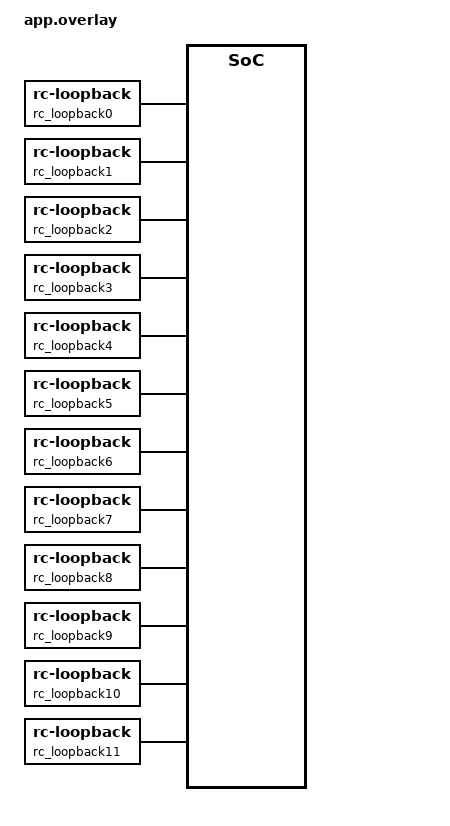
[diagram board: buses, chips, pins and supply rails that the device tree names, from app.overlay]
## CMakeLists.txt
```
# SPDX-FileCopyrightText: Copyright (c) 2026 Linumiz
# SPDX-License-Identifier: Apache-2.0

cmake_minimum_required(VERSION 3.28.0)
find_package(Zephyr REQUIRED HINTS $ENV{ZEPHYR_BASE})

project(rc_core)

target_sources(app PRIVATE
  src/event.c
  src/keystate.c
  src/main.c
  src/protocol.c
  src/raw.c
  src/rawio.c
  src/send.c
  src/sync.c
  src/tx.c
)

if(CONFIG_TEST_RC_CALLBACKS)
  target_sources(app PRIVATE src/callback.c)
else()
  target_sources(app PRIVATE src/no_callback.c)
endif()
```

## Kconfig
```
# SPDX-FileCopyrightText: Copyright (c) 2026 Linumiz
# SPDX-License-Identifier: Apache-2.0

config TEST_RC_CALLBACKS
	bool "Build the rc callback tests"
	default y
	help
	  Disable to test a build without any rc callback.

source "Kconfig.zephyr"
```

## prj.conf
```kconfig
# SPDX-FileCopyrightText: Copyright (c) 2026 Linumiz
# SPDX-License-Identifier: Apache-2.0

CONFIG_ZTEST=y
CONFIG_RC=y
CONFIG_MP_MAX_NUM_CPUS=1
CONFIG_IRQ_OFFLOAD=y
CONFIG_RC_RAW_BUFFER_SIZE=16
CONFIG_SYS_MEM_BLOCKS_RUNTIME_STATS=y
CONFIG_THREAD_NAME=y
CONFIG_RC_RAW_CHUNK_WORDS=8
CONFIG_RC_TX_MAX_DURATION_MS=500
CONFIG_RC_PROTOCOL_NEC=n
```

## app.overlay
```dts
/*
 * SPDX-FileCopyrightText: Copyright (c) 2026 Linumiz
 * SPDX-License-Identifier: Apache-2.0
 */

/ {
	rc_loopback0: rc-loopback-0 {
		compatible = "zephyr,rc-loopback";
		rx-timeout-us = <20000>;
		status = "okay";
	};

	rc_loopback1: rc-loopback-1 {
		compatible = "zephyr,rc-loopback";
		protocols = <0x1f2 0x1fe>;
		status = "okay";
	};

	rc_loopback2: rc-loopback-2 {
		compatible = "zephyr,rc-loopback";
		hw-rx-timeout;
		protocols = <0x1fe>;
		rx-timeout-us = <5000>;
		status = "okay";
	};

	rc_loopback3: rc-loopback-3 {
		compatible = "zephyr,rc-loopback";
		hw-rx-timeout;
		status = "okay";
	};

	rc_loopback4: rc-loopback-4 {
		compatible = "zephyr,rc-loopback";
		hw-rx-timeout;
		status = "okay";
	};

	rc_loopback5: rc-loopback-5 {
		compatible = "zephyr,rc-loopback";
		protocols = <0x1fa>;
		rx-timeout-us = <5000>;
		status = "okay";
	};

	rc_loopback6: rc-loopback-6 {
		compatible = "zephyr,rc-loopback";
		protocols = <0x1fb 0x1ff>;
		rx-timeout-us = <10000>;
		status = "okay";
	};

	rc_loopback7: rc-loopback-7 {
		compatible = "zephyr,rc-loopback";
		protocols = <0x1fa>;
		rx-timeout-us = <5000>;
		status = "okay";
	};

	rc_loopback8: rc-loopback-8 {
		compatible = "zephyr,rc-loopback";
		protocols = <0x1fa>;
		rx-timeout-us = <5000>;
		status = "okay";
	};

	rc_loopback9: rc-loopback-9 {
		compatible = "zephyr,rc-loopback";
		protocols = <0x1fe>;
		rx-timeout-us = <5000>;
		status = "okay";
	};

	rc_loopback10: rc-loopback-10 {
		compatible = "zephyr,rc-loopback";
		protocols = <0x1fe>;
		rx-timeout-us = <5000>;
		tx-echo;
		status = "okay";
	};

	rc_loopback11: rc-loopback-11 {
		compatible = "zephyr,rc-loopback";
		rx-only;
		status = "okay";
	};
};
```

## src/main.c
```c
/*
 * SPDX-FileCopyrightText: Copyright (c) 2026 Linumiz
 * SPDX-License-Identifier: Apache-2.0
 */

#include <zephyr/device.h>
#include <zephyr/drivers/rc.h>
#include <zephyr/drivers/rc/rc_loopback.h>
#include <zephyr/rc/rc.h>
#include <zephyr/ztest.h>

BUILD_ASSERT(RC_EVENT_FLAG_TOGGLE == 1U);
BUILD_ASSERT(RC_EVENT_FLAG_REPEAT == 2U);
BUILD_ASSERT((RC_RAW_DURATION_MASK & (RC_RAW_PULSE | RC_RAW_TIMEOUT | RC_RAW_OVERFLOW)) == 0U);
BUILD_ASSERT(RC_PROTO_XBOX_DVD < RC_PROTO_ZEPHYR_BASE);

static const struct device *const rc_dev = DEVICE_DT_GET(DT_NODELABEL(rc_loopback0));

ZTEST(rc_core, test_raw_pulse)
{
	uint32_t word = RC_RAW_PULSE_US(560);

	zassert_true(rc_raw_is_pulse(word));
	zassert_equal(rc_raw_duration_us(word), 560U);
	zassert_equal(word & (RC_RAW_TIMEOUT | RC_RAW_OVERFLOW), 0U);
}

ZTEST(rc_core, test_raw_space)
{
	uint32_t word = RC_RAW_SPACE_US(1690);

	zassert_false(rc_raw_is_pulse(word));
	zassert_equal(rc_raw_duration_us(word), 1690U);
}

ZTEST(rc_core, test_raw_clamp)
{
	zassert_equal(rc_raw_duration_us(RC_RAW_PULSE_US(RC_RAW_DURATION_MASK + 1U)),
		      RC_RAW_DURATION_MASK);
	zassert_equal(rc_raw_duration_us(RC_RAW_SPACE_US(UINT32_MAX)), RC_RAW_DURATION_MASK);
	zassert_false(rc_raw_is_pulse(RC_RAW_SPACE_US(UINT32_MAX)));
}

ZTEST(rc_core, test_raw_zero)
{
	zassert_equal(RC_RAW_SPACE_US(0), 0U);
	zassert_equal(RC_RAW_PULSE_US(0), RC_RAW_PULSE);
}

ZTEST(rc_core, test_device_ready)
{
	zassert_true(device_is_ready(rc_dev));
}

ZTEST(rc_core, test_get_caps)
{
	struct rc_caps caps;

	zassert_ok(rc_get_caps(rc_dev, &caps));
	zassert_equal(caps.roles, RC_ROLE_RAW_RX);
	zassert_equal(caps.rx_resolution_ns, 1000U);
}

ZTEST(rc_core, test_rx_enable)
{
	zassert_ok(rc_rx_enable(rc_dev, true));
	zassert_true(rc_loopback_rx_is_enabled(rc_dev));
	zassert_ok(rc_rx_enable(rc_dev, false));
	zassert_false(rc_loopback_rx_is_enabled(rc_dev));
}

ZTEST_SUITE(rc_core, NULL, NULL, NULL, NULL, NULL);
```

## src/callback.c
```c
/*
 * SPDX-FileCopyrightText: Copyright (c) 2026 Linumiz
 * SPDX-License-Identifier: Apache-2.0
 */

#include <string.h>

#include <zephyr/device.h>
#include <zephyr/drivers/rc.h>
#include <zephyr/drivers/rc/rc_loopback.h>
#include <zephyr/kernel.h>
#include <zephyr/rc/rc.h>
#include <zephyr/ztest.h>

#define TEST_PROTO_EVT 0x1fa
#define KEYUP_MS       6
#define LOG_SIZE       8

static const struct device *const dev7 = DEVICE_DT_GET(DT_NODELABEL(rc_loopback7));
static const struct device *const dev8 = DEVICE_DT_GET(DT_NODELABEL(rc_loopback8));

static int marker;

static struct rc_event dev8_log[LOG_SIZE];
static size_t dev8_count;
static bool dev8_on_rc_rx;
static void *dev8_user_data;
static int dev8_sync_ret;
static int dev8_send_ret;
static atomic_t all_dev8_count;
static atomic_t dev7_count;
static K_SEM_DEFINE(dev8_sem, 0, LOG_SIZE);

static void dev8_cb(const struct device *dev, const struct rc_event *evt, void *user_data)
{
	struct rc_event unused;

	zassert_equal(dev, dev8);
	if (dev8_count < LOG_SIZE) {
		dev8_log[dev8_count++] = *evt;
	}
	dev8_on_rc_rx = (strcmp(k_thread_name_get(k_current_get()), "rc_rx") == 0);
	dev8_user_data = user_data;
	dev8_sync_ret = rc_receive_sync(dev, &unused, K_NO_WAIT);
	dev8_send_ret =
		rc_send_raw_sync(dev, &(const uint32_t){RC_RAW_PULSE_US(100)}, 1, K_NO_WAIT);
	k_sem_give(&dev8_sem);
}

static void all_cb(const struct device *dev, const struct rc_event *evt, void *user_data)
{
	ARG_UNUSED(evt);
	ARG_UNUSED(user_data);

	if (dev == dev8) {
		atomic_inc(&all_dev8_count);
	}
}

static void dev7_cb(const struct device *dev, const struct rc_event *evt, void *user_data)
{
	ARG_UNUSED(evt);
	ARG_UNUSED(user_data);

	zassert_equal(dev, dev7);
	atomic_inc(&dev7_count);
}

RC_CALLBACK_DEFINE(DEVICE_DT_GET(DT_NODELABEL(rc_loopback8)), dev8_cb, &marker);
RC_CALLBACK_DEFINE(NULL, all_cb, NULL);
RC_CALLBACK_DEFINE(DEVICE_DT_GET(DT_NODELABEL(rc_loopback7)), dev7_cb, NULL);

static void inject(uint32_t scancode)
{
	const uint32_t word = RC_RAW_PULSE_US(scancode);

	zassert_ok(rc_loopback_inject(dev8, &word, 1));
}

static void rc_callback_before(void *fixture)
{
	ARG_UNUSED(fixture);

	k_sleep(K_MSEC(4 * KEYUP_MS));
	k_sem_reset(&dev8_sem);
	dev8_count = 0;
	dev8_sync_ret = 0;
	atomic_clear(&all_dev8_count);
	atomic_clear(&dev7_count);
	zassert_ok(rc_rx_enable(dev8, true));
}

static void rc_callback_after(void *fixture)
{
	ARG_UNUSED(fixture);

	zassert_ok(rc_rx_enable(dev8, false));
}

ZTEST(rc_callback, test_event_and_release)
{
	inject(100);
	zassert_ok(k_sem_take(&dev8_sem, K_MSEC(500)));
	zassert_ok(k_sem_take(&dev8_sem, K_MSEC(500)));

	zassert_equal(dev8_count, 2U);
	zassert_equal(dev8_log[0].proto, TEST_PROTO_EVT);
	zassert_equal(dev8_log[0].scancode, 100U);
	zassert_equal(dev8_log[0].flags, 0);
	zassert_equal(dev8_log[1].scancode, 100U);
	zassert_equal(dev8_log[1].flags, RC_EVENT_FLAG_RELEASE);
	zassert_equal(dev8_user_data, &marker);
	zassert_true(dev8_on_rc_rx, "callback not on rc_rx");
}

ZTEST(rc_callback, test_receive_sync_deadlock)
{
	inject(100);
	zassert_ok(k_sem_take(&dev8_sem, K_MSEC(500)));
	zassert_equal(dev8_sync_ret, -EDEADLK);
	zassert_equal(dev8_send_ret, -EDEADLK);
}

ZTEST(rc_callback, test_filter)
{
	inject(100);
	zassert_ok(k_sem_take(&dev8_sem, K_MSEC(500)));
	zassert_ok(k_sem_take(&dev8_sem, K_MSEC(500)));

	zassert_equal(atomic_get(&all_dev8_count), 2);
	zassert_equal(atomic_get(&dev7_count), 0);
}

ZTEST_SUITE(rc_callback, NULL, NULL, rc_callback_before, rc_callback_after, NULL);
```

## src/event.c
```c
/*
 * SPDX-FileCopyrightText: Copyright (c) 2026 Linumiz
 * SPDX-License-Identifier: Apache-2.0
 */

#include <string.h>

#include <zephyr/device.h>
#include <zephyr/drivers/rc.h>
#include <zephyr/drivers/rc/rc_loopback.h>
#include <zephyr/kernel.h>
#include <zephyr/rc/rc.h>
#include <zephyr/rc/rc_protocol.h>
#include <zephyr/rtio/rtio.h>
#include <zephyr/ztest.h>

#define TEST_PROTO_EVT 0x1fa

static int test_evt_decode(void *state, uint32_t word, struct rc_decode_result *res)
{
	ARG_UNUSED(state);

	if (!rc_raw_is_pulse(word)) {
		return 0;
	}

	res->proto = TEST_PROTO_EVT;
	res->flags = 0;
	res->scancode = rc_raw_duration_us(word);

	return 1;
}

RC_PROTOCOL_DEFINE(test_proto_evt) = {
	.name = "test-evt",
	.proto_first = TEST_PROTO_EVT,
	.proto_last = TEST_PROTO_EVT,
	.repeat_period_ms = 1,
	.decode = test_evt_decode,
};

static bool is_release(struct rtio *r, struct rtio_cqe *cqe)
{
	struct rc_event evt;
	uint32_t len = 0U;
	uint8_t *buf = NULL;

	if ((cqe->result != 0) || (rtio_cqe_get_mempool_buffer(r, cqe, &buf, &len) != 0) ||
	    (buf == NULL) || (len < sizeof(evt))) {
		return false;
	}

	memcpy(&evt, buf, sizeof(evt));
	if ((evt.flags & RC_EVENT_FLAG_RELEASE) == 0U) {
		return false;
	}

	rtio_release_buffer(r, buf, len);
	rtio_cqe_release(r, cqe);

	return true;
}

RC_DT_EVENT_IODEV(evt_iodev, DT_NODELABEL(rc_loopback5));

RTIO_DEFINE_WITH_MEMPOOL(ctx_a, 4, 8, 8, 32, sizeof(void *));
RTIO_DEFINE_WITH_MEMPOOL(ctx_b, 4, 8, 8, 32, sizeof(void *));
RTIO_DEFINE_WITH_MEMPOOL(ctx_small, 4, 8, 1, 8, sizeof(void *));
RTIO_DEFINE(ctx_plain, 4, 8);

static const struct device *const dev5 = DEVICE_DT_GET(DT_NODELABEL(rc_loopback5));

static void inject(uint32_t scancode)
{
	const uint32_t word = RC_RAW_PULSE_US(scancode);

	zassert_ok(rc_loopback_inject(dev5, &word, 1));
}

static struct rtio_cqe *wait_cqe(struct rtio *r)
{
	for (int i = 0; i < 200; i++) {
		struct rtio_cqe *cqe = rtio_cqe_consume(r);

		if ((cqe != NULL) && !is_release(r, cqe)) {
			return cqe;
		}
		if (cqe == NULL) {
			k_sleep(K_MSEC(1));
		}
	}

	zassert_unreachable("no completion");

	return NULL;
}

static void expect_no_cqe(struct rtio *r)
{
	struct rtio_cqe *cqe;

	k_sleep(K_MSEC(20));
	do {
		cqe = rtio_cqe_consume(r);
	} while ((cqe != NULL) && is_release(r, cqe));
	zassert_is_null(cqe, "unexpected completion");
}

static void expect_event(struct rtio *r, void *userdata, uint32_t scancode, struct rc_event *out)
{
	struct rtio_cqe *cqe = wait_cqe(r);
	struct rc_event evt;
	uint32_t len = 0U;
	uint8_t *buf = NULL;

	zassert_equal(cqe->result, 0);
	zassert_equal(cqe->userdata, userdata);
	zassert_ok(rtio_cqe_get_mempool_buffer(r, cqe, &buf, &len));
	zassert_true(len >= sizeof(evt));
	memcpy(&evt, buf, sizeof(evt));
	rtio_release_buffer(r, buf, len);
	rtio_cqe_release(r, cqe);

	zassert_equal(evt.proto, TEST_PROTO_EVT);
	zassert_equal(evt.scancode, scancode);
	zassert_equal(evt.flags, 0);
	zassert_equal(evt.keycode, 0);
	if (out != NULL) {
		*out = evt;
	}
}

static void expect_result(struct rtio *r, int result)
{
	struct rtio_cqe *cqe = wait_cqe(r);

	zassert_equal(cqe->result, result, "result %d", cqe->result);
	rtio_cqe_release(r, cqe);
}

static void cancel(struct rtio *r, rtio_sqe_handle_t handle)
{
	zassert_ok(rtio_sqe_cancel(r, handle));
	expect_result(r, -ECANCELED);
}

static void cancel_before_submit(struct rtio *r, struct rtio_sqe *sqe)
{
	zassert_ok(rtio_sqe_cancel(r, rtio_sqe_handle(r, sqe)));
	zassert_ok(rtio_submit(r, 0));
	expect_result(r, -ECANCELED);
	expect_no_cqe(r);
}

static void submit_oneshot(struct rtio *r, void *userdata)
{
	struct rtio_sqe *sqe = rtio_sqe_acquire(r);

	zassert_not_null(sqe);
	rtio_sqe_prep_read_with_pool(sqe, &evt_iodev, RTIO_PRIO_NORM, userdata);
	zassert_ok(rtio_submit(r, 0));
}

static void rc_event_before(void *fixture)
{
	ARG_UNUSED(fixture);

	k_sleep(K_MSEC(20));
	zassert_ok(rc_rx_enable(dev5, true));
}

static void rc_event_after(void *fixture)
{
	struct rtio *const ctxs[] = {&ctx_a, &ctx_b, &ctx_small, &ctx_plain};

	ARG_UNUSED(fixture);

	zassert_ok(rc_rx_enable(dev5, false));
	k_sleep(K_MSEC(5));
	ARRAY_FOR_EACH(ctxs, i) {
		struct rtio_cqe *cqe;

		do {
			cqe = rtio_cqe_consume(ctxs[i]);
		} while ((cqe != NULL) && is_release(ctxs[i], cqe));
		zassert_is_null(cqe, "completion left in ctx %zu", i);
		zassert_equal(ctxs[i]->sqe_pool->pool_free, ctxs[i]->sqe_pool->pool_size,
			      "submission leaked in ctx %zu", i);
		if (ctxs[i]->block_pool != NULL) {
			zassert_equal(ctxs[i]->block_pool->info.used_blocks, 0U,
				      "pool buffer leaked in ctx %zu", i);
		}
	}
}

ZTEST(rc_event, test_multishot_every_event)
{
	rtio_sqe_handle_t handle;
	struct rc_event first, second;

	zassert_ok(rc_stream(&evt_iodev, &ctx_a, &ctx_a, &handle));
	inject(100);
	inject(200);
	inject(300);

	expect_event(&ctx_a, &ctx_a, 100, &first);
	expect_event(&ctx_a, &ctx_a, 200, &second);
	expect_event(&ctx_a, &ctx_a, 300, NULL);
	zassert_true(first.timestamp_ns > 0U);
	zassert_true(second.timestamp_ns >= first.timestamp_ns);

	cancel(&ctx_a, handle);
	inject(400);
	expect_no_cqe(&ctx_a);
}

ZTEST(rc_event, test_oneshot_once)
{
	submit_oneshot(&ctx_a, NULL);
	inject(100);
	inject(200);

	expect_event(&ctx_a, NULL, 100, NULL);
	expect_no_cqe(&ctx_a);
}

ZTEST(rc_event, test_no_submission_dropped)
{
	inject(100);
	k_sleep(K_MSEC(20));

	submit_oneshot(&ctx_a, NULL);
	inject(200);
	expect_event(&ctx_a, NULL, 200, NULL);
}

ZTEST(rc_event, test_two_contexts)
{
	rtio_sqe_handle_t handle_a, handle_b;

	zassert_ok(rc_stream(&evt_iodev, &ctx_a, NULL, &handle_a));
	zassert_ok(rc_stream(&evt_iodev, &ctx_b, NULL, &handle_b));
	inject(100);

	expect_event(&ctx_a, NULL, 100, NULL);
	expect_event(&ctx_b, NULL, 100, NULL);

	cancel(&ctx_a, handle_a);
	cancel(&ctx_b, handle_b);
}

ZTEST(rc_event, test_cancel_without_events)
{
	rtio_sqe_handle_t handle;

	zassert_ok(rc_stream(&evt_iodev, &ctx_a, NULL, &handle));
	k_sleep(K_MSEC(5));
	zassert_equal(ctx_a.sqe_pool->pool_free, ctx_a.sqe_pool->pool_size - 1U);

	cancel(&ctx_a, handle);
	zassert_equal(ctx_a.sqe_pool->pool_free, ctx_a.sqe_pool->pool_size);

	inject(100);
	expect_no_cqe(&ctx_a);
}

ZTEST(rc_event, test_cancel_twice)
{
	rtio_sqe_handle_t handle;

	zassert_ok(rc_stream(&evt_iodev, &ctx_a, NULL, &handle));
	cancel(&ctx_a, handle);

	zassert_ok(rtio_sqe_cancel(&ctx_a, handle));
	expect_no_cqe(&ctx_a);
}

ZTEST(rc_event, test_cancel_oneshot)
{
	struct rtio_sqe *sqe = rtio_sqe_acquire(&ctx_a);
	rtio_sqe_handle_t handle;

	zassert_not_null(sqe);
	rtio_sqe_prep_read_with_pool(sqe, &evt_iodev, RTIO_PRIO_NORM, NULL);
	handle = rtio_sqe_handle(&ctx_a, sqe);
	zassert_ok(rtio_submit(&ctx_a, 0));
	k_sleep(K_MSEC(5));

	cancel(&ctx_a, handle);
	inject(100);
	expect_no_cqe(&ctx_a);
}

ZTEST(rc_event, test_cancel_before_submit)
{
	struct rtio_sqe *sqe = rtio_sqe_acquire(&ctx_a);

	zassert_not_null(sqe);
	rtio_sqe_prep_read_with_pool(sqe, &evt_iodev, RTIO_PRIO_NORM, NULL);
	cancel_before_submit(&ctx_a, sqe);
}

ZTEST(rc_event, test_pool_exhausted)
{
	rtio_sqe_handle_t handle;

	zassert_ok(rc_stream(&evt_iodev, &ctx_small, NULL, &handle));
	inject(100);
	expect_result(&ctx_small, -ENOMEM);

	inject(200);
	expect_no_cqe(&ctx_small);
}

ZTEST(rc_event, test_app_buffer)
{
	struct rc_event evt;
	uint8_t small[sizeof(evt) - 1];
	struct rtio_sqe *sqe;

	sqe = rtio_sqe_acquire(&ctx_plain);
	zassert_not_null(sqe);
	rtio_sqe_prep_read(sqe, &evt_iodev, RTIO_PRIO_NORM, (uint8_t *)&evt, sizeof(evt), NULL);
	zassert_ok(rtio_submit(&ctx_plain, 0));
	inject(100);
	expect_result(&ctx_plain, 0);
	zassert_equal(evt.scancode, 100U);

	sqe = rtio_sqe_acquire(&ctx_plain);
	zassert_not_null(sqe);
	rtio_sqe_prep_read(sqe, &evt_iodev, RTIO_PRIO_NORM, small, sizeof(small), NULL);
	zassert_ok(rtio_submit(&ctx_plain, 0));
	inject(100);
	expect_result(&ctx_plain, -ENOMEM);
}

ZTEST(rc_event, test_invalid_op)
{
	static const uint8_t data[4];
	struct rtio_sqe *sqe = rtio_sqe_acquire(&ctx_plain);

	zassert_not_null(sqe);
	rtio_sqe_prep_write(sqe, &evt_iodev, RTIO_PRIO_NORM, data, sizeof(data), NULL);
	zassert_ok(rtio_submit(&ctx_plain, 0));
	expect_result(&ctx_plain, -EINVAL);
}

ZTEST_SUITE(rc_event, NULL, NULL, rc_event_before, rc_event_after, NULL);
```

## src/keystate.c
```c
/*
 * SPDX-FileCopyrightText: Copyright (c) 2026 Linumiz
 * SPDX-License-Identifier: Apache-2.0
 */

#include <string.h>

#include <zephyr/device.h>
#include <zephyr/drivers/rc.h>
#include <zephyr/drivers/rc/rc_loopback.h>
#include <zephyr/kernel.h>
#include <zephyr/rc/rc.h>
#include <zephyr/rc/rc_protocol.h>
#include <zephyr/rtio/rtio.h>
#include <zephyr/ztest.h>

#define TEST_PROTO_KEY_A 0x1fb
#define TEST_PROTO_KEY_B 0x1fc
#define TEST_PROTO_OTHER 0x1ff

#define KEY_SCANCODE_MASK 0xfffU
#define KEY_TOGGLE        BIT(12)
#define KEY_REPEAT_CODE   BIT(13)
#define KEY_PROTO_B       BIT(14)
#define KEY_OTHER         BIT(15)

#define REPEAT_PERIOD_MS 50
#define RX_TIMEOUT_MS    (DT_PROP(DT_NODELABEL(rc_loopback6), rx_timeout_us) / 1000)
#define KEYUP_MS         (RX_TIMEOUT_MS + REPEAT_PERIOD_MS)

static int test_key_decode(void *state, uint32_t word, struct rc_decode_result *res)
{
	uint32_t d = rc_raw_duration_us(word);

	ARG_UNUSED(state);

	if (!rc_raw_is_pulse(word) || ((d & KEY_OTHER) != 0U)) {
		return 0;
	}

	res->proto = ((d & KEY_PROTO_B) != 0U) ? TEST_PROTO_KEY_B : TEST_PROTO_KEY_A;
	res->scancode = d & KEY_SCANCODE_MASK;
	res->flags = (((d & KEY_TOGGLE) != 0U) ? RC_EVENT_FLAG_TOGGLE : 0U) |
		     (((d & KEY_REPEAT_CODE) != 0U) ? RC_EVENT_FLAG_REPEAT : 0U);

	return 1;
}

RC_PROTOCOL_DEFINE(test_proto_key) = {
	.name = "test-key",
	.proto_first = TEST_PROTO_KEY_A,
	.proto_last = TEST_PROTO_KEY_B,
	.repeat_period_ms = REPEAT_PERIOD_MS,
	.decode = test_key_decode,
};

static int test_other_decode(void *state, uint32_t word, struct rc_decode_result *res)
{
	ARG_UNUSED(state);

	if (!rc_raw_is_pulse(word) || ((rc_raw_duration_us(word) & KEY_OTHER) == 0U)) {
		return 0;
	}

	res->proto = TEST_PROTO_OTHER;
	res->scancode = 0U;
	res->flags = RC_EVENT_FLAG_REPEAT;

	return 1;
}

RC_PROTOCOL_DEFINE(test_proto_other) = {
	.name = "test-other",
	.proto_first = TEST_PROTO_OTHER,
	.proto_last = TEST_PROTO_OTHER,
	.repeat_period_ms = REPEAT_PERIOD_MS,
	.decode = test_other_decode,
};

RC_DT_EVENT_IODEV(key_iodev, DT_NODELABEL(rc_loopback6));
RTIO_DEFINE_WITH_MEMPOOL(key_ctx, 4, 16, 16, 32, sizeof(void *));

static const struct device *const dev6 = DEVICE_DT_GET(DT_NODELABEL(rc_loopback6));
static rtio_sqe_handle_t stream;

static void frame(uint32_t d)
{
	const uint32_t word = RC_RAW_PULSE_US(d);

	zassert_ok(rc_loopback_inject(dev6, &word, 1));
}

static bool next_event(struct rc_event *evt, int timeout_ms)
{
	for (int i = 0; i <= timeout_ms; i++) {
		struct rtio_cqe *cqe = rtio_cqe_consume(&key_ctx);
		uint32_t len = 0U;
		uint8_t *buf = NULL;

		if (cqe == NULL) {
			k_sleep(K_MSEC(1));
			continue;
		}

		zassert_equal(cqe->result, 0, "result %d", cqe->result);
		zassert_ok(rtio_cqe_get_mempool_buffer(&key_ctx, cqe, &buf, &len));
		zassert_true(len >= sizeof(*evt));
		memcpy(evt, buf, sizeof(*evt));
		rtio_release_buffer(&key_ctx, buf, len);
		rtio_cqe_release(&key_ctx, cqe);

		return true;
	}

	return false;
}

static struct rc_event expect(uint16_t proto, uint32_t scancode, uint16_t flags)
{
	struct rc_event evt;

	zassert_true(next_event(&evt, 2 * KEYUP_MS), "no event");
	zassert_equal(evt.proto, proto, "proto 0x%x", evt.proto);
	zassert_equal(evt.scancode, scancode, "scancode 0x%x", evt.scancode);
	zassert_equal(evt.flags, flags, "flags 0x%x", evt.flags);

	return evt;
}

static void expect_none(int timeout_ms)
{
	struct rc_event evt = {0};

	zassert_false(next_event(&evt, timeout_ms), "unexpected event flags 0x%x scancode 0x%x",
		      evt.flags, evt.scancode);
}

static void rc_key_before(void *fixture)
{
	ARG_UNUSED(fixture);

	k_sleep(K_MSEC(2 * KEYUP_MS));
	zassert_ok(rc_rx_enable(dev6, true));
	zassert_ok(rc_stream(&key_iodev, &key_ctx, NULL, &stream));
}

static void rc_key_after(void *fixture)
{
	struct rtio_cqe *cqe;
	int result;

	ARG_UNUSED(fixture);

	zassert_ok(rc_rx_enable(dev6, false));
	zassert_ok(rtio_sqe_cancel(&key_ctx, stream));

	do {
		uint32_t len = 0U;
		uint8_t *buf = NULL;

		cqe = rtio_cqe_consume_block(&key_ctx);
		result = cqe->result;
		if ((rtio_cqe_get_mempool_buffer(&key_ctx, cqe, &buf, &len) == 0) &&
		    (buf != NULL)) {
			rtio_release_buffer(&key_ctx, buf, len);
		}
		rtio_cqe_release(&key_ctx, cqe);
	} while (result != -ECANCELED);
}

ZTEST(rc_key, test_new_key)
{
	frame(0x10);
	expect(TEST_PROTO_KEY_A, 0x10, 0);
}

ZTEST(rc_key, test_held_repeat)
{
	frame(0x10);
	frame(0x10);
	expect(TEST_PROTO_KEY_A, 0x10, 0);
	expect(TEST_PROTO_KEY_A, 0x10, RC_EVENT_FLAG_REPEAT);
}

ZTEST(rc_key, test_toggle_new_press)
{
	frame(0x10);
	frame(0x10 | KEY_TOGGLE);
	frame(0x10 | KEY_TOGGLE);
	expect(TEST_PROTO_KEY_A, 0x10, 0);
	expect(TEST_PROTO_KEY_A, 0x10, RC_EVENT_FLAG_RELEASE);
	expect(TEST_PROTO_KEY_A, 0x10, RC_EVENT_FLAG_TOGGLE);
	expect(TEST_PROTO_KEY_A, 0x10, RC_EVENT_FLAG_TOGGLE | RC_EVENT_FLAG_REPEAT);
}

ZTEST(rc_key, test_repeat_code)
{
	frame(0x10 | KEY_TOGGLE);
	frame(KEY_REPEAT_CODE);
	expect(TEST_PROTO_KEY_A, 0x10, RC_EVENT_FLAG_TOGGLE);
	expect(TEST_PROTO_KEY_A, 0x10, RC_EVENT_FLAG_TOGGLE | RC_EVENT_FLAG_REPEAT);
}

ZTEST(rc_key, test_repeat_code_idle)
{
	frame(KEY_REPEAT_CODE);
	expect_none(20);
}

ZTEST(rc_key, test_release_after_timeout)
{
	int64_t start = k_uptime_get();
	struct rc_event pressed, released;

	frame(0x10 | KEY_TOGGLE);
	pressed = expect(TEST_PROTO_KEY_A, 0x10, RC_EVENT_FLAG_TOGGLE);
	released = expect(TEST_PROTO_KEY_A, 0x10, RC_EVENT_FLAG_TOGGLE | RC_EVENT_FLAG_RELEASE);

	zassert_true(k_uptime_get() - start >= KEYUP_MS, "released after %lld ms",
		     k_uptime_get() - start);
	zassert_true(released.timestamp_ns - pressed.timestamp_ns >= KEYUP_MS * NSEC_PER_MSEC);
	expect_none(2 * KEYUP_MS);
}

ZTEST(rc_key, test_keyup_extended)
{
	struct rc_event last, released;

	frame(0x10);
	last = expect(TEST_PROTO_KEY_A, 0x10, 0);
	for (int i = 0; i < 3; i++) {
		k_sleep(K_MSEC(KEYUP_MS / 2));
		frame((i == 1) ? KEY_REPEAT_CODE : 0x10);
		last = expect(TEST_PROTO_KEY_A, 0x10, RC_EVENT_FLAG_REPEAT);
	}

	released = expect(TEST_PROTO_KEY_A, 0x10, RC_EVENT_FLAG_RELEASE);
	zassert_true(released.timestamp_ns - last.timestamp_ns >= KEYUP_MS * NSEC_PER_MSEC,
		     "released %llu ns after the last frame",
		     released.timestamp_ns - last.timestamp_ns);
}

ZTEST(rc_key, test_other_scancode)
{
	frame(0x10);
	frame(0x11);
	expect(TEST_PROTO_KEY_A, 0x10, 0);
	expect(TEST_PROTO_KEY_A, 0x10, RC_EVENT_FLAG_RELEASE);
	expect(TEST_PROTO_KEY_A, 0x11, 0);
}

ZTEST(rc_key, test_other_proto)
{
	struct rc_event released, pressed;

	frame(0x10);
	frame(0x10 | KEY_PROTO_B);
	expect(TEST_PROTO_KEY_A, 0x10, 0);
	released = expect(TEST_PROTO_KEY_A, 0x10, RC_EVENT_FLAG_RELEASE);
	pressed = expect(TEST_PROTO_KEY_B, 0x10, 0);
	zassert_true(pressed.timestamp_ns >= released.timestamp_ns);

	expect(TEST_PROTO_KEY_B, 0x10, RC_EVENT_FLAG_RELEASE);
}

ZTEST(rc_key, test_repeat_other_protocol)
{
	struct rc_event press;
	struct rc_event release;
	int64_t wait_ms;

	frame(5);
	press = expect(TEST_PROTO_KEY_A, 5, 0);
	wait_ms = (int64_t)(press.timestamp_ns / NSEC_PER_MSEC) + (KEYUP_MS / 2) - k_uptime_get();
	if (wait_ms > 0) {
		k_sleep(K_MSEC(wait_ms));
	}
	frame(KEY_OTHER);
	release = expect(TEST_PROTO_KEY_A, 5, RC_EVENT_FLAG_RELEASE);
	zassert_true(release.timestamp_ns - press.timestamp_ns <
			     (uint64_t)(KEYUP_MS + (KEYUP_MS / 4)) * NSEC_PER_MSEC,
		     "keyup deadline moved");
}

ZTEST_SUITE(rc_key, NULL, NULL, rc_key_before, rc_key_after, NULL);
```

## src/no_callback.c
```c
/*
 * SPDX-FileCopyrightText: Copyright (c) 2026 Linumiz
 * SPDX-License-Identifier: Apache-2.0
 */

#include <zephyr/rc/rc.h>
#include <zephyr/sys/iterable_sections.h>
#include <zephyr/ztest.h>

ZTEST(rc_no_callback, test_empty_section)
{
	int count;

	STRUCT_SECTION_COUNT(rc_callback, &count);
	zassert_equal(count, 0);
}

ZTEST_SUITE(rc_no_callback, NULL, NULL, NULL, NULL, NULL);
```

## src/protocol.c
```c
/*
 * SPDX-FileCopyrightText: Copyright (c) 2026 Linumiz
 * SPDX-License-Identifier: Apache-2.0
 */

#include <zephyr/device.h>
#include <zephyr/drivers/rc.h>
#include <zephyr/drivers/rc/rc_loopback.h>
#include <zephyr/rc/rc.h>
#include <zephyr/rc/rc_protocol.h>
#include <zephyr/ztest.h>

#define TEST_PROTO_A0   0x1f0
#define TEST_PROTO_A1   0x1f1
#define TEST_PROTO_B    0x1f2
#define TEST_PROTO_C    0x1f3
#define TEST_PROTO_NONE 0x1fe

static int test_decode(void *state, uint32_t word, struct rc_decode_result *res)
{
	ARG_UNUSED(state);
	ARG_UNUSED(word);
	ARG_UNUSED(res);

	return 0;
}

RC_PROTOCOL_DEFINE(test_proto_a) = {
	.name = "test-a",
	.proto_first = TEST_PROTO_A0,
	.proto_last = TEST_PROTO_A1,
	.min_timeout_us = 50000,
	.decode = test_decode,
};

RC_PROTOCOL_DEFINE(test_proto_b) = {
	.name = "test-b",
	.proto_first = TEST_PROTO_B,
	.proto_last = TEST_PROTO_B,
	.min_timeout_us = 30000,
	.decode = test_decode,
};

RC_PROTOCOL_DEFINE(test_proto_c) = {
	.name = "test-c",
	.proto_first = TEST_PROTO_C,
	.proto_last = TEST_PROTO_C,
	.min_timeout_us = 2000000,
	.decode = test_decode,
};

static const struct device *const dev0 = DEVICE_DT_GET(DT_NODELABEL(rc_loopback0));
static const struct device *const dev1 = DEVICE_DT_GET(DT_NODELABEL(rc_loopback1));
static const struct device *const dev2 = DEVICE_DT_GET(DT_NODELABEL(rc_loopback2));
static const struct device *const dev3 = DEVICE_DT_GET(DT_NODELABEL(rc_loopback3));
static const struct device *const dev4 = DEVICE_DT_GET(DT_NODELABEL(rc_loopback4));

struct rc_protocol_fixture {
	int dev0_a;
	int dev0_b;
	int dev1_a;
	int dev1_b;
};

static void *rc_protocol_setup(void)
{
	static struct rc_protocol_fixture defaults;

	defaults.dev0_a = rc_protocol_is_enabled(dev0, TEST_PROTO_A0);
	defaults.dev0_b = rc_protocol_is_enabled(dev0, TEST_PROTO_B);
	defaults.dev1_a = rc_protocol_is_enabled(dev1, TEST_PROTO_A0);
	defaults.dev1_b = rc_protocol_is_enabled(dev1, TEST_PROTO_B);

	return &defaults;
}

static void rc_protocol_before(void *fixture)
{
	ARG_UNUSED(fixture);

	zassert_ok(rc_protocol_enable(dev0, TEST_PROTO_A0));
	zassert_ok(rc_protocol_enable(dev0, TEST_PROTO_B));
	zassert_ok(rc_protocol_disable(dev1, TEST_PROTO_A0));
	zassert_ok(rc_protocol_enable(dev1, TEST_PROTO_B));
}

ZTEST_F(rc_protocol, test_default_all)
{
	zassert_equal(fixture->dev0_a, 1);
	zassert_equal(fixture->dev0_b, 1);
}

ZTEST_F(rc_protocol, test_default_dt)
{
	zassert_equal(fixture->dev1_a, 0);
	zassert_equal(fixture->dev1_b, 1);
}

ZTEST(rc_protocol, test_enable_disable)
{
	zassert_ok(rc_protocol_disable(dev0, TEST_PROTO_B));
	zassert_equal(rc_protocol_is_enabled(dev0, TEST_PROTO_B), 0);
	zassert_equal(rc_protocol_is_enabled(dev0, TEST_PROTO_A0), 1);

	zassert_ok(rc_protocol_enable(dev0, TEST_PROTO_B));
	zassert_equal(rc_protocol_is_enabled(dev0, TEST_PROTO_B), 1);
}

ZTEST(rc_protocol, test_same_decoder)
{
	zassert_ok(rc_protocol_disable(dev0, TEST_PROTO_A1));
	zassert_equal(rc_protocol_is_enabled(dev0, TEST_PROTO_A0), 0);
	zassert_ok(rc_protocol_enable(dev0, TEST_PROTO_A0));
	zassert_equal(rc_protocol_is_enabled(dev0, TEST_PROTO_A1), 1);
}

ZTEST(rc_protocol, test_devices_independent)
{
	zassert_ok(rc_protocol_disable(dev0, TEST_PROTO_B));
	zassert_equal(rc_protocol_is_enabled(dev1, TEST_PROTO_B), 1);
}

ZTEST(rc_protocol, test_not_built)
{
	zassert_equal(rc_protocol_enable(dev0, TEST_PROTO_NONE), -ENOTSUP);
	zassert_equal(rc_protocol_disable(dev0, TEST_PROTO_NONE), -ENOTSUP);
	zassert_equal(rc_protocol_is_enabled(dev0, TEST_PROTO_NONE), -ENOTSUP);
	zassert_equal(rc_protocol_is_enabled(dev1, TEST_PROTO_NONE), -ENOTSUP);
	zassert_equal(rc_protocol_enable(dev0, RC_PROTO_NEC), -ENOTSUP);
}

ZTEST_SUITE(rc_protocol, NULL, rc_protocol_setup, rc_protocol_before, NULL, NULL);

ZTEST(rc_rx_timeout, test_auto)
{
	zassert_equal(rc_loopback_rx_timeout_us(dev3), 1000000U);

	zassert_ok(rc_protocol_disable(dev3, TEST_PROTO_C));
	zassert_equal(rc_loopback_rx_timeout_us(dev3), 60000U);
	zassert_ok(rc_protocol_disable(dev3, TEST_PROTO_A0));
	zassert_equal(rc_loopback_rx_timeout_us(dev3), 40000U);

	zassert_ok(rc_protocol_disable(dev3, TEST_PROTO_B));
	zassert_equal(rc_loopback_rx_timeout_us(dev3), 125000U);

	zassert_ok(rc_protocol_enable(dev3, TEST_PROTO_B));
	zassert_equal(rc_loopback_rx_timeout_us(dev3), 40000U);
	zassert_ok(rc_protocol_enable(dev3, TEST_PROTO_A0));
	zassert_ok(rc_protocol_enable(dev3, TEST_PROTO_C));
	zassert_equal(rc_loopback_rx_timeout_us(dev3), 1000000U);
}

ZTEST(rc_rx_timeout, test_explicit_dt)
{
	uint32_t dt_us = DT_PROP(DT_NODELABEL(rc_loopback2), rx_timeout_us);

	zassert_equal(rc_loopback_rx_timeout_us(dev2), dt_us);
	zassert_ok(rc_protocol_enable(dev2, TEST_PROTO_A0));
	zassert_equal(rc_loopback_rx_timeout_us(dev2), dt_us);
	zassert_ok(rc_protocol_disable(dev2, TEST_PROTO_A0));
	zassert_equal(rc_loopback_rx_timeout_us(dev2), dt_us);
}

ZTEST(rc_rx_timeout, test_explicit_set)
{
	zassert_equal(rc_loopback_rx_timeout_us(dev4), 1000000U);

	zassert_equal(rc_set_rx_timeout(dev4, 0), -EINVAL);
	zassert_ok(rc_set_rx_timeout(dev4, 7000));
	zassert_equal(rc_loopback_rx_timeout_us(dev4), 7000U);

	zassert_ok(rc_protocol_disable(dev4, TEST_PROTO_C));
	zassert_equal(rc_loopback_rx_timeout_us(dev4), 7000U);
	zassert_ok(rc_protocol_enable(dev4, TEST_PROTO_C));
	zassert_equal(rc_loopback_rx_timeout_us(dev4), 7000U);
}

ZTEST_SUITE(rc_rx_timeout, NULL, NULL, NULL, NULL, NULL);
```

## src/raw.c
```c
/*
 * SPDX-FileCopyrightText: Copyright (c) 2026 Linumiz
 * SPDX-License-Identifier: Apache-2.0
 */

#include <zephyr/device.h>
#include <zephyr/drivers/rc.h>
#include <zephyr/drivers/rc/rc_loopback.h>
#include <zephyr/irq_offload.h>
#include <zephyr/kernel.h>
#include <zephyr/rc/rc.h>
#include <zephyr/rc/rc_protocol.h>
#include <zephyr/ztest.h>

#define TEST_PROTO_RAW 0x1f8
#define LOG_SIZE       (2 * CONFIG_RC_RAW_BUFFER_SIZE)
#define RX_TIMEOUT_US  DT_PROP(DT_NODELABEL(rc_loopback0), rx_timeout_us)

struct test_raw_state {
	uint32_t resets;
};

static uint32_t word_log[LOG_SIZE];
static size_t word_count;
static uint32_t *dev0_state;
static size_t reset_at;
static K_SEM_DEFINE(word_sem, 0, LOG_SIZE);
static uint32_t last_timeout;
static K_SEM_DEFINE(timeout_sem, 0, LOG_SIZE);

static const struct device *const dev0 = DEVICE_DT_GET(DT_NODELABEL(rc_loopback0));
static const struct device *const dev2 = DEVICE_DT_GET(DT_NODELABEL(rc_loopback2));

static void test_raw_reset(void *state)
{
	struct test_raw_state *s = state;

	s->resets++;
	reset_at = word_count;
}

static int test_raw_decode(void *state, uint32_t word, struct rc_decode_result *res)
{
	ARG_UNUSED(res);

	dev0_state = state;
	if ((word & RC_RAW_TIMEOUT) != 0U) {
		last_timeout = word;
		k_sem_give(&timeout_sem);
		return 0;
	}
	if (word_count < LOG_SIZE) {
		word_log[word_count++] = word;
	}
	k_sem_give(&word_sem);

	return 0;
}

RC_PROTOCOL_DEFINE(test_proto_raw) = {
	.name = "test-raw",
	.proto_first = TEST_PROTO_RAW,
	.proto_last = TEST_PROTO_RAW,
	.state_size = sizeof(struct test_raw_state),
	.reset = test_raw_reset,
	.decode = test_raw_decode,
};

static void wait_words(size_t n)
{
	for (size_t i = 0; i < n; i++) {
		zassert_ok(k_sem_take(&word_sem, K_MSEC(100)), "word %zu not decoded", i);
	}
	zassert_equal(k_sem_take(&word_sem, K_MSEC(10)), -EAGAIN, "extra word decoded");
}

static void wait_idle(void)
{
	k_sleep(K_USEC(2 * RX_TIMEOUT_US));
	k_sem_reset(&timeout_sem);
}

static uint32_t resets(void)
{
	return ((struct test_raw_state *)dev0_state)->resets;
}

static void rc_raw_before(void *fixture)
{
	ARG_UNUSED(fixture);

	zassert_ok(rc_rx_enable(dev0, true));
	zassert_ok(rc_protocol_enable(dev0, TEST_PROTO_RAW));
	k_sem_reset(&word_sem);
	word_count = 0;
}

static void rc_raw_after(void *fixture)
{
	ARG_UNUSED(fixture);

	zassert_ok(rc_rx_enable(dev0, false));
}

ZTEST(rc_raw, test_words_in_order)
{
	const uint32_t words[] = {
		RC_RAW_PULSE_US(9000),
		RC_RAW_SPACE_US(4500),
		RC_RAW_PULSE_US(560),
		RC_RAW_SPACE_US(1690),
	};

	zassert_ok(rc_loopback_inject(dev0, words, ARRAY_SIZE(words)));
	wait_words(ARRAY_SIZE(words));
	zassert_mem_equal(word_log, words, sizeof(words));
}

ZTEST(rc_raw, test_disabled_not_fed)
{
	const uint32_t word = RC_RAW_PULSE_US(100);

	zassert_ok(rc_protocol_disable(dev0, TEST_PROTO_RAW));
	zassert_ok(rc_loopback_inject(dev0, &word, 1));
	k_sleep(K_MSEC(10));
	zassert_equal(word_count, 0U);
}

ZTEST(rc_raw, test_reenable_resets)
{
	const uint32_t word = RC_RAW_PULSE_US(100);
	uint32_t before;

	zassert_ok(rc_loopback_inject(dev0, &word, 1));
	wait_words(1);
	before = resets();

	zassert_ok(rc_protocol_enable(dev0, TEST_PROTO_RAW));
	zassert_ok(rc_loopback_inject(dev0, &word, 1));
	wait_words(1);
	zassert_equal(resets(), before);

	zassert_ok(rc_protocol_disable(dev0, TEST_PROTO_RAW));
	zassert_ok(rc_protocol_enable(dev0, TEST_PROTO_RAW));
	zassert_equal(resets(), before);
	zassert_ok(rc_loopback_inject(dev0, &word, 1));
	wait_words(1);
	zassert_equal(resets(), before + 1U);
}

ZTEST(rc_raw, test_rx_disabled)
{
	const uint32_t word = RC_RAW_PULSE_US(100);

	zassert_ok(rc_rx_enable(dev0, false));
	zassert_equal(rc_loopback_inject(dev0, &word, 1), -EAGAIN);
}

ZTEST(rc_raw, test_overflow)
{
	const uint32_t first = RC_RAW_SPACE_US(1);
	uint32_t before;
	int ret = 0;
	size_t stored;

	zassert_ok(rc_loopback_inject(dev0, &first, 1));
	wait_words(1);
	before = resets();
	word_count = 0;

	k_sched_lock();
	for (stored = 0; stored <= CONFIG_RC_RAW_BUFFER_SIZE; stored++) {
		uint32_t word = RC_RAW_PULSE_US(stored + 1U);

		ret = rc_loopback_inject(dev0, &word, 1);
		if (ret != 0) {
			break;
		}
	}
	k_sched_unlock();

	zassert_equal(ret, -ENOMEM);
	zassert_equal(stored, CONFIG_RC_RAW_BUFFER_SIZE);
	wait_words(stored);

	ret = rc_loopback_inject(dev0, &first, 1);
	zassert_ok(ret);
	wait_words(1);
	zassert_equal(resets(), before + 1U);
	zassert_equal(reset_at, stored, "reset before the gap");
	zassert_equal(word_log[stored], first);
}

ZTEST(rc_raw, test_driver_overflow)
{
	const uint32_t word = RC_RAW_PULSE_US(100);
	uint32_t before;

	zassert_ok(rc_loopback_inject(dev0, &word, 1));
	wait_words(1);
	before = resets();

	rc_raw_overflow(dev0);
	zassert_ok(rc_loopback_inject(dev0, &word, 1));
	wait_words(1);
	zassert_equal(resets(), before + 1U);
}

static int isr_ret;

static void inject_isr(const void *param)
{
	const uint32_t *words = param;

	isr_ret = rc_loopback_inject(dev0, words, 2);
}

ZTEST(rc_raw, test_store_from_isr)
{
	static const uint32_t words[] = {RC_RAW_PULSE_US(600), RC_RAW_SPACE_US(600)};

	isr_ret = -1;
	irq_offload(inject_isr, words);
	zassert_ok(isr_ret);
	wait_words(ARRAY_SIZE(words));
	zassert_mem_equal(word_log, words, sizeof(words));
}

ZTEST(rc_raw, test_store_edge)
{
	const uint32_t word = RC_RAW_PULSE_US(100);

	zassert_ok(rc_loopback_inject(dev0, &word, 1));
	wait_words(1);
	zassert_ok(k_sem_take(&timeout_sem, K_USEC(3 * RX_TIMEOUT_US)));
	word_count = 0;

	k_sched_lock();
	zassert_ok(rc_raw_store_edge(dev0, true));
	k_busy_wait(560);
	zassert_ok(rc_raw_store_edge(dev0, false));
	k_busy_wait(1690);
	zassert_ok(rc_raw_store_edge(dev0, true));
	k_sched_unlock();

	wait_words(2);
	zassert_true(rc_raw_is_pulse(word_log[0]));
	zassert_false(rc_raw_is_pulse(word_log[1]));

	/* Exact durations only on native_sim, where code takes no simulated time */
	if (IS_ENABLED(CONFIG_BOARD_NATIVE_SIM)) {
		zassert_equal(rc_raw_duration_us(word_log[0]), 560U);
		zassert_equal(rc_raw_duration_us(word_log[1]), 1690U);
	}
}

ZTEST(rc_raw, test_timeout_after_idle)
{
	const uint32_t word = RC_RAW_PULSE_US(100);
	int64_t start;

	wait_idle();
	start = k_uptime_get();
	zassert_ok(rc_loopback_inject(dev0, &word, 1));
	wait_words(1);

	zassert_ok(k_sem_take(&timeout_sem, K_USEC(3 * RX_TIMEOUT_US)));
	zassert_true(k_uptime_get() - start >= RX_TIMEOUT_US / 1000);
	zassert_false(rc_raw_is_pulse(last_timeout));
	zassert_true(rc_raw_duration_us(last_timeout) >= RX_TIMEOUT_US);

	zassert_equal(k_sem_take(&timeout_sem, K_USEC(2 * RX_TIMEOUT_US)), -EAGAIN);
}

ZTEST(rc_raw, test_timeout_rearmed)
{
	const uint32_t word = RC_RAW_PULSE_US(100);

	wait_idle();
	for (int i = 0; i < 4; i++) {
		zassert_ok(rc_loopback_inject(dev0, &word, 1));
		k_sleep(K_USEC(RX_TIMEOUT_US / 2));
		zassert_equal(k_sem_take(&timeout_sem, K_NO_WAIT), -EBUSY, "early timeout %d", i);
	}

	zassert_ok(k_sem_take(&timeout_sem, K_USEC(3 * RX_TIMEOUT_US)));
}

ZTEST(rc_raw, test_driver_timeout_word)
{
	const uint32_t words[] = {RC_RAW_PULSE_US(100), RC_RAW_TIMEOUT | RC_RAW_SPACE_US(5000)};

	wait_idle();
	zassert_ok(rc_loopback_inject(dev0, words, ARRAY_SIZE(words)));
	zassert_ok(k_sem_take(&timeout_sem, K_MSEC(100)));
	zassert_equal(last_timeout, words[1]);

	zassert_equal(k_sem_take(&timeout_sem, K_USEC(2 * RX_TIMEOUT_US)), -EAGAIN);
}

ZTEST(rc_raw, test_set_rx_timeout)
{
	zassert_equal(rc_set_rx_timeout(dev0, 0), -EINVAL);
	zassert_equal(rc_set_rx_timeout(dev0, RC_RAW_DURATION_MASK + 1U), -EINVAL);
	zassert_ok(rc_set_rx_timeout(dev0, RX_TIMEOUT_US));
}

ZTEST(rc_raw, test_set_rx_timeout_hw)
{
	zassert_equal(rc_loopback_rx_timeout_us(dev2),
		      DT_PROP(DT_NODELABEL(rc_loopback2), rx_timeout_us));
	zassert_equal(rc_set_rx_timeout(dev2, 500), -EINVAL);
	zassert_equal(rc_set_rx_timeout(dev2, 2000000), -EINVAL);
	zassert_ok(rc_set_rx_timeout(dev2, 8000));
	zassert_equal(rc_loopback_rx_timeout_us(dev2), 8000U);
	zassert_ok(rc_set_rx_timeout(dev2, 5000));
}

ZTEST_SUITE(rc_raw, NULL, NULL, rc_raw_before, rc_raw_after, NULL);
```

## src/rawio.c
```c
/*
 * SPDX-FileCopyrightText: Copyright (c) 2026 Linumiz
 * SPDX-License-Identifier: Apache-2.0
 */

#include <string.h>

#include <zephyr/device.h>
#include <zephyr/drivers/rc.h>
#include <zephyr/drivers/rc/rc_loopback.h>
#include <zephyr/kernel.h>
#include <zephyr/rc/rc.h>
#include <zephyr/rtio/rtio.h>
#include <zephyr/ztest.h>

#define CHUNK   CONFIG_RC_RAW_CHUNK_WORDS
#define IDLE_MS 20

static const struct device *const dev9 = DEVICE_DT_GET(DT_NODELABEL(rc_loopback9));

RC_DT_RAW_IODEV(raw_iodev, DT_NODELABEL(rc_loopback9));
/* One reader per raw iodev: tests that leave loss state use their own */
RC_DT_RAW_IODEV(raw_iodev_oneshot, DT_NODELABEL(rc_loopback9));
RC_DT_RAW_IODEV(raw_iodev_stopped, DT_NODELABEL(rc_loopback9));
RC_DT_RAW_IODEV(raw_iodev_short, DT_NODELABEL(rc_loopback9));

RTIO_DEFINE_WITH_MEMPOOL(raw_ctx, 4, 8, 8, 64, sizeof(uint32_t));
RTIO_DEFINE_WITH_MEMPOOL(raw_ctx_one, 4, 8, 1, 64, sizeof(uint32_t));
RTIO_DEFINE_WITH_MEMPOOL(raw_ctx_small, 4, 8, 2, 4, sizeof(uint32_t));
RTIO_DEFINE(raw_ctx_plain, 4, 8);

static const uint32_t frame[] = {
	RC_RAW_PULSE_US(9000), RC_RAW_SPACE_US(4500), RC_RAW_PULSE_US(560), RC_RAW_SPACE_US(560),
	RC_RAW_PULSE_US(560),  RC_RAW_SPACE_US(1690), RC_RAW_PULSE_US(560), RC_RAW_SPACE_US(560),
	RC_RAW_PULSE_US(560),  RC_RAW_SPACE_US(1690), RC_RAW_PULSE_US(560), RC_RAW_SPACE_US(560),
};

static void inject(const uint32_t *words, size_t count)
{
	k_sched_lock();
	zassert_ok(rc_loopback_inject(dev9, words, count));
	k_sched_unlock();
}

static struct rtio_cqe *wait_cqe(struct rtio *r)
{
	struct rtio_cqe *cqe;

	for (int i = 0; i < 200; i++) {
		cqe = rtio_cqe_consume(r);
		if (cqe != NULL) {
			return cqe;
		}
		k_sleep(K_MSEC(1));
	}

	zassert_unreachable("no completion");

	return NULL;
}

static int next_words(struct rtio *r, uint32_t *words, size_t max)
{
	struct rtio_cqe *cqe = wait_cqe(r);
	int result = cqe->result;
	uint32_t len = 0U;
	uint8_t *buf = NULL;

	if ((result > 0) && (rtio_cqe_get_mempool_buffer(r, cqe, &buf, &len) == 0) &&
	    (buf != NULL)) {
		zassert_true((size_t)result <= max);
		memcpy(words, buf, (size_t)result * sizeof(uint32_t));
		rtio_release_buffer(r, buf, len);
	}
	rtio_cqe_release(r, cqe);

	return result;
}

static void expect_no_cqe(struct rtio *r)
{
	k_sleep(K_MSEC(IDLE_MS));
	zassert_is_null(rtio_cqe_consume(r), "unexpected completion");
}

static void stop(struct rtio *r, rtio_sqe_handle_t handle)
{
	uint32_t words[CHUNK];

	zassert_ok(rtio_sqe_cancel(r, handle));
	while (next_words(r, words, ARRAY_SIZE(words)) != -ECANCELED) {
	}
}

static void rc_rawio_before(void *fixture)
{
	ARG_UNUSED(fixture);

	k_sleep(K_MSEC(IDLE_MS));
	zassert_ok(rc_rx_enable(dev9, true));
}

static void rc_rawio_after(void *fixture)
{
	struct rtio *const ctxs[] = {&raw_ctx, &raw_ctx_one, &raw_ctx_small, &raw_ctx_plain};

	ARG_UNUSED(fixture);

	zassert_ok(rc_rx_enable(dev9, false));
	/* RTIO frees a submission just after its completion */
	k_msleep(5);
	ARRAY_FOR_EACH(ctxs, i) {
		zassert_is_null(rtio_cqe_consume(ctxs[i]), "completion left in ctx %zu", i);
		zassert_equal(ctxs[i]->sqe_pool->pool_free, ctxs[i]->sqe_pool->pool_size,
			      "submission leaked in ctx %zu", i);
		if (ctxs[i]->block_pool != NULL) {
			zassert_equal(ctxs[i]->block_pool->info.used_blocks, 0U,
				      "pool buffer leaked in ctx %zu", i);
		}
	}
}

ZTEST(rc_rawio, test_words_then_timeout)
{
	rtio_sqe_handle_t handle = 0;
	uint32_t words[CHUNK];

	zassert_ok(rc_stream(&raw_iodev, &raw_ctx, NULL, &handle));
	inject(frame, 4);

	zassert_equal(next_words(&raw_ctx, words, ARRAY_SIZE(words)), 4);
	zassert_mem_equal(words, frame, 4 * sizeof(uint32_t));

	zassert_equal(next_words(&raw_ctx, words, ARRAY_SIZE(words)), 1);
	zassert_true((words[0] & RC_RAW_TIMEOUT) != 0U);
	zassert_false(rc_raw_is_pulse(words[0]));

	stop(&raw_ctx, handle);
}

ZTEST(rc_rawio, test_chunks)
{
	rtio_sqe_handle_t handle = 0;
	uint32_t words[CHUNK];

	zassert_ok(rc_stream(&raw_iodev, &raw_ctx, NULL, &handle));
	inject(frame, ARRAY_SIZE(frame));

	zassert_equal(next_words(&raw_ctx, words, ARRAY_SIZE(words)), CHUNK);
	zassert_mem_equal(words, frame, CHUNK * sizeof(uint32_t));
	zassert_equal(next_words(&raw_ctx, words, ARRAY_SIZE(words)), ARRAY_SIZE(frame) - CHUNK);
	zassert_mem_equal(words, &frame[CHUNK], (ARRAY_SIZE(frame) - CHUNK) * sizeof(uint32_t));

	stop(&raw_ctx, handle);
}

ZTEST(rc_rawio, test_app_buffer_too_small)
{
	uint32_t buf[3];
	struct rtio_sqe *sqe = rtio_sqe_acquire(&raw_ctx_plain);
	struct rtio_cqe *cqe;

	zassert_not_null(sqe);
	rtio_sqe_prep_read(sqe, &raw_iodev_short, RTIO_PRIO_NORM, (uint8_t *)buf, sizeof(buf),
			   NULL);
	zassert_ok(rtio_submit(&raw_ctx_plain, 0));
	inject(frame, 5);

	cqe = wait_cqe(&raw_ctx_plain);
	zassert_equal(cqe->result, 3);
	rtio_cqe_release(&raw_ctx_plain, cqe);
	zassert_equal(buf[0], frame[0]);
	zassert_equal(buf[1], frame[1]);
	zassert_equal(buf[2], RC_RAW_OVERFLOW, "cut short without marker");
}

ZTEST(rc_rawio, test_pool_buffer_too_small)
{
	size_t cap = rtio_mempool_block_size(&raw_ctx_small) *
		     raw_ctx_small.block_pool->info.num_blocks / sizeof(uint32_t);
	rtio_sqe_handle_t handle = 0;
	uint32_t words[CHUNK];
	int result;

	zassert_true(cap < CHUNK);
	zassert_ok(rc_stream(&raw_iodev, &raw_ctx_small, NULL, &handle));
	inject(frame, CHUNK);

	result = next_words(&raw_ctx_small, words, ARRAY_SIZE(words));
	zassert_equal(result, (int)cap, "result %d", result);
	zassert_mem_equal(words, frame, (cap - 1U) * sizeof(uint32_t));
	zassert_equal(words[cap - 1U], RC_RAW_OVERFLOW, "cut short without marker");

	stop(&raw_ctx_small, handle);
}

ZTEST(rc_rawio, test_pool_empty)
{
	rtio_sqe_handle_t handle = 0;
	struct rtio_cqe *held;
	uint32_t words[CHUNK];
	uint32_t len = 0U;
	uint8_t *buf = NULL;

	zassert_ok(rc_stream(&raw_iodev_stopped, &raw_ctx_one, NULL, &handle));
	inject(frame, 2);
	held = wait_cqe(&raw_ctx_one);
	zassert_equal(held->result, 2);

	inject(frame, 2);
	zassert_equal(next_words(&raw_ctx_one, words, ARRAY_SIZE(words)), -ENOMEM);

	zassert_ok(rtio_cqe_get_mempool_buffer(&raw_ctx_one, held, &buf, &len));
	rtio_release_buffer(&raw_ctx_one, buf, len);
	rtio_cqe_release(&raw_ctx_one, held);

	inject(frame, 2);
	expect_no_cqe(&raw_ctx_one);

	zassert_ok(rtio_sqe_cancel(&raw_ctx_one, handle));
}

ZTEST(rc_rawio, test_missed_between_reads)
{
	uint32_t buf[CHUNK];
	struct rtio_sqe *sqe;
	struct rtio_cqe *cqe;

	for (int round = 0; round < 2; round++) {
		sqe = rtio_sqe_acquire(&raw_ctx_plain);
		zassert_not_null(sqe);
		rtio_sqe_prep_read(sqe, &raw_iodev_oneshot, RTIO_PRIO_NORM, (uint8_t *)buf,
				   sizeof(buf), NULL);
		zassert_ok(rtio_submit(&raw_ctx_plain, 0));
		inject(&frame[2], 1);

		cqe = wait_cqe(&raw_ctx_plain);
		if (round == 0) {
			zassert_equal(cqe->result, 1);
			zassert_equal(buf[0], frame[2]);
		} else {
			zassert_equal(cqe->result, 2);
			zassert_equal(buf[0], RC_RAW_OVERFLOW);
			zassert_equal(buf[1], frame[2]);
		}
		rtio_cqe_release(&raw_ctx_plain, cqe);

		inject(frame, 3);
		k_sleep(K_MSEC(IDLE_MS));
	}

	sqe = rtio_sqe_acquire(&raw_ctx_plain);
	zassert_not_null(sqe);
	rtio_sqe_prep_read(sqe, &raw_iodev_oneshot, RTIO_PRIO_NORM, (uint8_t *)buf, sizeof(buf),
			   NULL);
	zassert_ok(rtio_sqe_cancel(&raw_ctx_plain, rtio_sqe_handle(&raw_ctx_plain, sqe)));
	zassert_ok(rtio_submit(&raw_ctx_plain, 0));
	cqe = wait_cqe(&raw_ctx_plain);
	zassert_equal(cqe->result, -ECANCELED);
	rtio_cqe_release(&raw_ctx_plain, cqe);
	expect_no_cqe(&raw_ctx_plain);

	sqe = rtio_sqe_acquire(&raw_ctx_plain);
	zassert_not_null(sqe);
	rtio_sqe_prep_read(sqe, &raw_iodev_oneshot, RTIO_PRIO_NORM, (uint8_t *)buf, sizeof(buf),
			   NULL);
	zassert_ok(rtio_submit(&raw_ctx_plain, 0));
	inject(&frame[2], 1);
	cqe = wait_cqe(&raw_ctx_plain);
	zassert_equal(cqe->result, 1);
	zassert_equal(buf[0], frame[2]);
	rtio_cqe_release(&raw_ctx_plain, cqe);
}

ZTEST(rc_rawio, test_cancel_oneshot)
{
	uint32_t buf[CHUNK];
	struct rtio_sqe *sqe = rtio_sqe_acquire(&raw_ctx_plain);
	rtio_sqe_handle_t handle;
	struct rtio_cqe *cqe;

	zassert_not_null(sqe);
	rtio_sqe_prep_read(sqe, &raw_iodev_oneshot, RTIO_PRIO_NORM, (uint8_t *)buf, sizeof(buf),
			   NULL);
	handle = rtio_sqe_handle(&raw_ctx_plain, sqe);
	zassert_ok(rtio_submit(&raw_ctx_plain, 0));
	k_sleep(K_MSEC(IDLE_MS));

	zassert_ok(rtio_sqe_cancel(&raw_ctx_plain, handle));
	cqe = wait_cqe(&raw_ctx_plain);
	zassert_equal(cqe->result, -ECANCELED);
	rtio_cqe_release(&raw_ctx_plain, cqe);
	inject(frame, 2);
	expect_no_cqe(&raw_ctx_plain);
}

ZTEST(rc_rawio, test_cancel_without_words)
{
	rtio_sqe_handle_t handle = 0;

	zassert_ok(rc_stream(&raw_iodev, &raw_ctx, NULL, &handle));
	k_sleep(K_MSEC(IDLE_MS));
	stop(&raw_ctx, handle);
	zassert_equal(raw_ctx.sqe_pool->pool_free, raw_ctx.sqe_pool->pool_size);
}

ZTEST_SUITE(rc_rawio, NULL, NULL, rc_rawio_before, rc_rawio_after, NULL);
```
